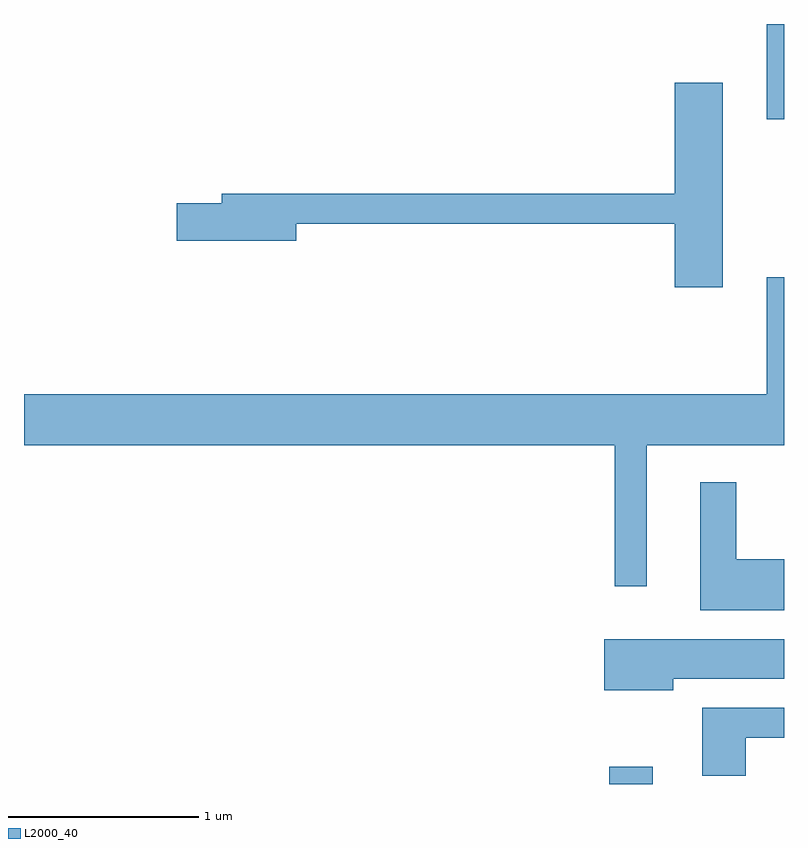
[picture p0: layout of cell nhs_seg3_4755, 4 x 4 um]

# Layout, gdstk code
import gdstk
lib = gdstk.Library(unit=1e-6, precision=1e-09)
def R(c, l, rs):  # rectangles x0, y0, x1, y1
    for r in rs: c.add(gdstk.rectangle(r[:2], r[2:], *l))
def P(c, l, *ps):  # polygons
    for p in ps: c.add(gdstk.Polygon(p, *l))
L2000_40 = (2000, 40)

nhs_seg3_4755 = lib.new_cell('nhs_seg3_4755')
R(nhs_seg3_4755, L2000_40, [(326.691,1241.892,326.919,1241.984), (327.521,1245.391,327.611,1245.892)])
P(nhs_seg3_4755, L2000_40, [(327.289,1245.584),(327.036,1245.584),(327.036,1244.999),(324.651,1244.999),(324.651,1244.949),(324.416,1244.949),(324.416,1244.751),(325.044,1244.751),(325.044,1244.841),(327.036,1244.841),(327.036,1244.506),(327.289,1244.506)],
  [(326.889,1243.676),(327.611,1243.676),(327.611,1244.559),(327.521,1244.559),(327.521,1243.944),(323.611,1243.944),(323.611,1243.676),(326.721,1243.676),(326.721,1242.933),(326.889,1242.933)],
  [(327.611,1243.074),(327.359,1243.074),(327.359,1243.479),(327.171,1243.479),(327.171,1242.806),(327.611,1242.806)],
  [(327.029,1242.446),(327.611,1242.446),(327.611,1242.654),(326.666,1242.654),(326.666,1242.386),(327.029,1242.386)],
  [(327.409,1242.136),(327.611,1242.136),(327.611,1242.294),(327.181,1242.294),(327.181,1241.936),(327.409,1241.936)])

lib.write_gds('nhs_seg3_4755.gds')
